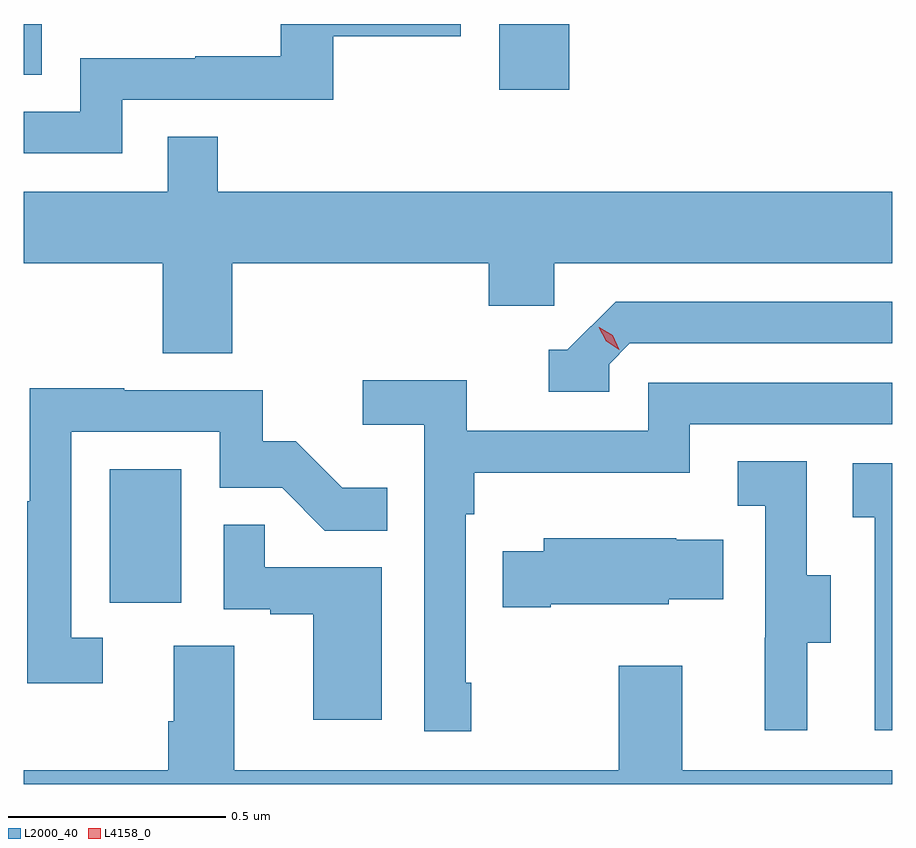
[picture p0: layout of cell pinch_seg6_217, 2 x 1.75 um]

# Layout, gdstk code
import gdstk
lib = gdstk.Library(unit=1e-6, precision=1e-09)
def R(c, l, rs):  # rectangles x0, y0, x1, y1
    for r in rs: c.add(gdstk.rectangle(r[:2], r[2:], *l))
def P(c, l, *ps):  # polygons
    for p in ps: c.add(gdstk.Polygon(p, *l))
L2000_40 = (2000, 40)
L4158_0 = (4158, 0)

pinch_seg6_217 = lib.new_cell('pinch_seg6_217')
R(pinch_seg6_217, L2000_40, [(1019.132,915.918,1019.296,916.225), (1020.029,917.1,1020.19,917.251), (1018.934,917.134,1018.975,917.251)])
P(pinch_seg6_217, L2000_40, [(1019.16,917.076),(1019.647,917.076),(1019.647,917.223),(1019.94,917.223),(1019.94,917.251),(1019.526,917.251),(1019.526,917.177),(1019.329,917.177),(1019.329,917.172),(1019.064,917.172),(1019.064,917.049),(1018.934,917.049),(1018.934,916.953),(1019.16,916.953)],
  [(1019.414,916.7),(1020.005,916.7),(1020.005,916.602),(1020.156,916.602),(1020.156,916.7),(1020.934,916.7),(1020.934,916.864),(1019.381,916.864),(1019.381,916.991),(1019.265,916.991),(1019.265,916.864),(1018.934,916.864),(1018.934,916.7),(1019.254,916.7),(1019.254,916.492),(1019.414,916.492)],
  [(1020.282,916.467),(1020.33,916.515),(1020.934,916.515),(1020.934,916.611),(1020.297,916.611),(1020.186,916.5),(1020.143,916.5),(1020.143,916.404),(1020.282,916.404)],
  [(1019.965,915.733),(1019.952,915.733),(1019.952,916.121),(1019.972,916.121),(1019.972,916.217),(1020.468,916.217),(1020.468,916.329),(1020.934,916.329),(1020.934,916.425),(1020.372,916.425),(1020.372,916.314),(1019.954,916.314),(1019.954,916.43),(1019.715,916.43),(1019.715,916.328),(1019.856,916.328),(1019.856,915.621),(1019.965,915.621)],
  [(1019.116,915.837),(1019.043,915.837),(1019.043,916.311),(1019.385,916.311),(1019.385,916.182),(1019.529,916.182),(1019.627,916.084),(1019.771,916.084),(1019.771,916.183),(1019.667,916.183),(1019.56,916.29),(1019.484,916.29),(1019.484,916.407),(1019.165,916.407),(1019.165,916.412),(1018.947,916.412),(1018.947,916.151),(1018.942,916.151),(1018.942,915.732),(1019.116,915.732)],
  [(1020.739,915.826),(1020.793,915.826),(1020.793,915.981),(1020.738,915.981),(1020.738,916.244),(1020.579,916.244),(1020.579,916.141),(1020.642,916.141),(1020.642,915.837),(1020.641,915.837),(1020.641,915.624),(1020.739,915.624)],
  [(1020.934,916.239),(1020.843,916.239),(1020.843,916.115),(1020.894,916.115),(1020.894,915.624),(1020.934,915.624)],
  [(1019.758,915.999),(1019.489,915.999),(1019.489,916.097),(1019.394,916.097),(1019.394,915.903),(1019.501,915.903),(1019.501,915.891),(1019.6,915.891),(1019.6,915.648),(1019.758,915.648)],
  [(1020.148,915.914),(1020.42,915.914),(1020.42,915.926),(1020.545,915.926),(1020.545,916.063),(1020.437,916.063),(1020.437,916.066),(1020.131,916.066),(1020.131,916.036),(1020.037,916.036),(1020.037,915.907),(1020.148,915.907)],
  [(1020.934,915.532),(1020.451,915.532),(1020.451,915.772),(1020.304,915.772),(1020.304,915.532),(1019.419,915.532),(1019.419,915.818),(1019.279,915.818),(1019.279,915.644),(1019.267,915.644),(1019.267,915.532),(1018.934,915.532),(1018.934,915.5),(1020.934,915.5)])
P(pinch_seg6_217, L4158_0, [(1020.306,916.501),(1020.275,916.52),(1020.258,916.552),(1020.258,916.552),(1020.259,916.552),(1020.29,916.534),(1020.306,916.501),(1020.306,916.501)])

lib.write_gds('pinch_seg6_217.gds')
